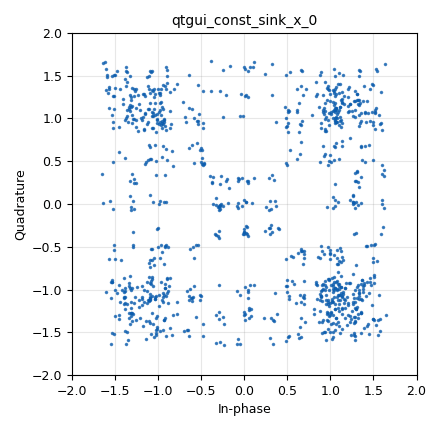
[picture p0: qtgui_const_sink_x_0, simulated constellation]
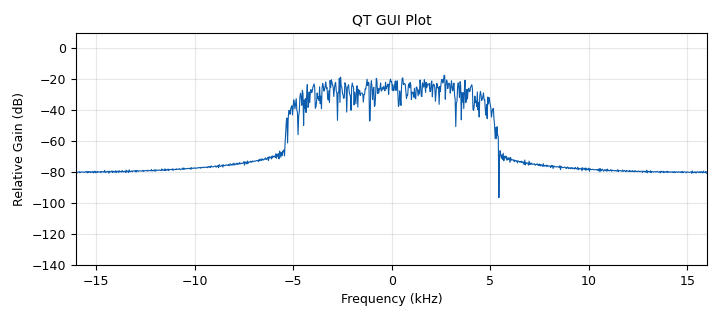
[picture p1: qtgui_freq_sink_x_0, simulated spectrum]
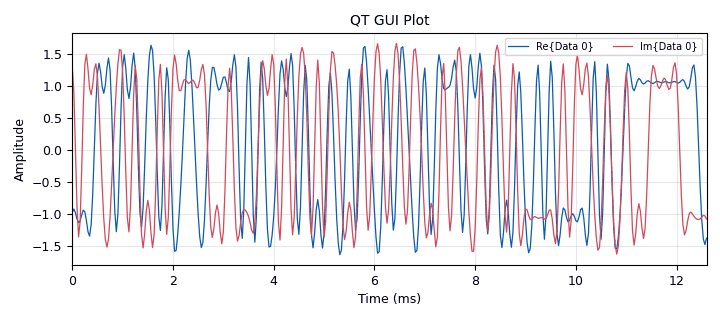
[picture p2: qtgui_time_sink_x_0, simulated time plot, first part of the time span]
options:
  parameters:
    generate_options: qt_gui
    id: Handson9
    output_language: python
  states: {}

blocks:
- name: arity
  id: variable
  parameters:
    value: '4'
  states: {}
- name: qpsk
  id: variable_constellation_rect
  parameters:
    const_points: '[0.707+0.707j, -0.707+0.707j, -0.707-0.707j, 0.707-0.707j]'
    imag_sect: '2'
    real_sect: '2'
    rot_sym: '4'
    sym_map: '[0, 1, 2, 3]'
    w_imag_sect: '1'
    w_real_sect: '1'
  states: {}
- name: samp_rate
  id: variable
  parameters:
    value: '32000'
  states: {}
- name: sps
  id: variable
  parameters:
    value: '4'
  states: {}
- name: analog_random_source_x_1
  id: analog_random_source_x
  parameters:
    max: '256'
    min: '0'
    num_samps: '1000'
    repeat: 'True'
    type: byte
  states: {}
- name: blocks_multiply_const_vxx_0
  id: blocks_multiply_const_vxx
  parameters:
    const: '1.5'
    type: complex
  states: {}
- name: blocks_throttle_0
  id: blocks_throttle
  parameters:
    samples_per_second: samp_rate
    type: complex
  states: {}
- name: digital_constellation_modulator_0
  id: digital_constellation_modulator
  parameters:
    constellation: qpsk
    differential: 'True'
    excess_bw: '0.35'
    samples_per_symbol: sps
  states: {}
- name: qtgui_const_sink_x_0
  id: qtgui_const_sink_x
  parameters:
    gui_hint: 0,1,1,1
    size: '1024'
    type: complex
  states: {}
- name: qtgui_freq_sink_x_0
  id: qtgui_freq_sink_x
  parameters:
    bw: samp_rate
    fc: '0'
    fftsize: '1024'
    name: QT GUI Plot
    type: complex
    wintype: window.WIN_HAMMING
  states: {}
- name: qtgui_time_sink_x_0
  id: qtgui_time_sink_x
  parameters:
    autoscale: 'True'
    gui_hint: 0,0,1,1
    name: QT GUI Plot
    size: '1024'
    srate: samp_rate
    type: complex
    ymax: '2'
    ymin: '-2'
  states: {}

connections:
- [analog_random_source_x_1, '0', digital_constellation_modulator_0, '0']
- [blocks_multiply_const_vxx_0, '0', blocks_throttle_0, '0']
- [blocks_throttle_0, '0', qtgui_const_sink_x_0, '0']
- [blocks_throttle_0, '0', qtgui_freq_sink_x_0, '0']
- [blocks_throttle_0, '0', qtgui_time_sink_x_0, '0']
- [digital_constellation_modulator_0, '0', blocks_multiply_const_vxx_0, '0']

metadata:
  file_format: 1
